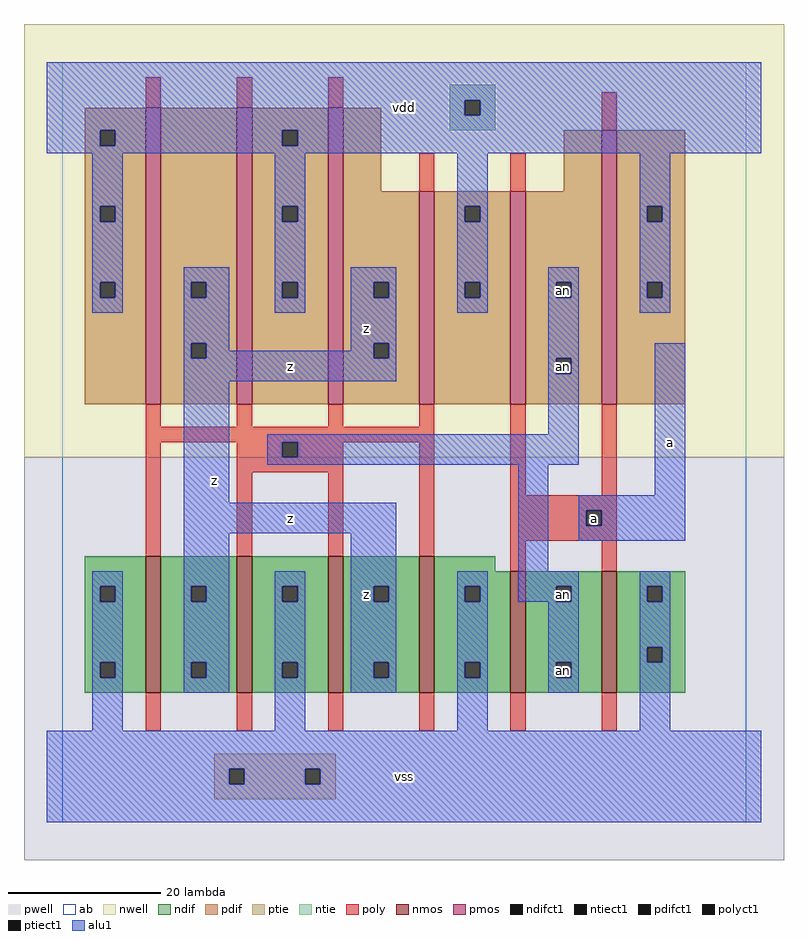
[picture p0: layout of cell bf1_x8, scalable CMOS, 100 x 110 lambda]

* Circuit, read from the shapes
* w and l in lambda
.subckt bf1_x8 a an vdd vss z
M1 z an vss vss nfet w=18 l=2 m=4
M2 an a vss vss nfet w=16 l=2 m=2
M3 z an vdd vdd pfet w=39 l=2 m=3
M4 vdd an z vdd pfet w=28 l=2
M5 an a vdd vdd pfet w=28 l=2
M6 vdd a an vdd pfet w=36 l=2
.ends

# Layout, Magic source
magic
tech scmos
<< ab >>
rect 0 0 90 100
<< nwell >>
rect -5 48 95 105
<< pwell >>
rect -5 -5 95 48
<< poly >>
rect 11 94 13 98
rect 23 94 25 98
rect 35 94 37 98
rect 71 91 73 96
rect 47 83 49 88
rect 59 83 61 88
rect 11 52 13 55
rect 23 52 25 55
rect 35 52 37 55
rect 47 52 49 55
rect 11 50 49 52
rect 11 35 13 50
rect 23 48 29 50
rect 31 48 37 50
rect 23 46 37 48
rect 23 35 25 46
rect 35 35 37 46
rect 47 35 49 50
rect 59 43 61 55
rect 71 43 73 55
rect 59 41 73 43
rect 59 39 69 41
rect 71 39 73 41
rect 59 37 73 39
rect 59 33 61 37
rect 71 33 73 37
rect 11 12 13 17
rect 23 12 25 17
rect 35 12 37 17
rect 47 12 49 17
rect 59 12 61 17
rect 71 12 73 17
<< ndif >>
rect 3 31 11 35
rect 3 29 5 31
rect 7 29 11 31
rect 3 21 11 29
rect 3 19 5 21
rect 7 19 11 21
rect 3 17 11 19
rect 13 31 23 35
rect 13 29 17 31
rect 19 29 23 31
rect 13 21 23 29
rect 13 19 17 21
rect 19 19 23 21
rect 13 17 23 19
rect 25 31 35 35
rect 25 29 29 31
rect 31 29 35 31
rect 25 21 35 29
rect 25 19 29 21
rect 31 19 35 21
rect 25 17 35 19
rect 37 31 47 35
rect 37 29 41 31
rect 43 29 47 31
rect 37 21 47 29
rect 37 19 41 21
rect 43 19 47 21
rect 37 17 47 19
rect 49 33 57 35
rect 49 31 59 33
rect 49 29 53 31
rect 55 29 59 31
rect 49 21 59 29
rect 49 19 53 21
rect 55 19 59 21
rect 49 17 59 19
rect 61 31 71 33
rect 61 29 65 31
rect 67 29 71 31
rect 61 21 71 29
rect 61 19 65 21
rect 67 19 71 21
rect 61 17 71 19
rect 73 31 82 33
rect 73 29 77 31
rect 79 29 82 31
rect 73 23 82 29
rect 73 21 77 23
rect 79 21 82 23
rect 73 17 82 21
<< pdif >>
rect 3 91 11 94
rect 3 89 5 91
rect 7 89 11 91
rect 3 81 11 89
rect 3 79 5 81
rect 7 79 11 81
rect 3 71 11 79
rect 3 69 5 71
rect 7 69 11 71
rect 3 55 11 69
rect 13 71 23 94
rect 13 69 17 71
rect 19 69 23 71
rect 13 63 23 69
rect 13 61 17 63
rect 19 61 23 63
rect 13 55 23 61
rect 25 91 35 94
rect 25 89 29 91
rect 31 89 35 91
rect 25 81 35 89
rect 25 79 29 81
rect 31 79 35 81
rect 25 71 35 79
rect 25 69 29 71
rect 31 69 35 71
rect 25 55 35 69
rect 37 83 42 94
rect 66 83 71 91
rect 37 71 47 83
rect 37 69 41 71
rect 43 69 47 71
rect 37 63 47 69
rect 37 61 41 63
rect 43 61 47 63
rect 37 55 47 61
rect 49 81 59 83
rect 49 79 53 81
rect 55 79 59 81
rect 49 71 59 79
rect 49 69 53 71
rect 55 69 59 71
rect 49 55 59 69
rect 61 71 71 83
rect 61 69 65 71
rect 67 69 71 71
rect 61 61 71 69
rect 61 59 65 61
rect 67 59 71 61
rect 61 55 71 59
rect 73 81 82 91
rect 73 79 77 81
rect 79 79 82 81
rect 73 71 82 79
rect 73 69 77 71
rect 79 69 82 71
rect 73 55 82 69
<< alu1 >>
rect -2 95 92 100
rect -2 93 53 95
rect 55 93 92 95
rect -2 91 92 93
rect -2 89 5 91
rect 7 89 29 91
rect 31 89 92 91
rect -2 88 92 89
rect 4 81 8 88
rect 4 79 5 81
rect 7 79 8 81
rect 4 71 8 79
rect 28 81 32 88
rect 28 79 29 81
rect 31 79 32 81
rect 4 69 5 71
rect 7 69 8 71
rect 4 67 8 69
rect 16 71 22 73
rect 16 69 17 71
rect 19 69 22 71
rect 16 63 22 69
rect 28 71 32 79
rect 52 81 56 88
rect 52 79 53 81
rect 55 79 56 81
rect 28 69 29 71
rect 31 69 32 71
rect 28 67 32 69
rect 38 71 44 73
rect 38 69 41 71
rect 43 69 44 71
rect 16 61 17 63
rect 19 62 22 63
rect 38 63 44 69
rect 52 71 56 79
rect 76 81 80 88
rect 76 79 77 81
rect 79 79 80 81
rect 52 69 53 71
rect 55 69 56 71
rect 52 67 56 69
rect 64 71 68 73
rect 64 69 65 71
rect 67 69 68 71
rect 38 62 41 63
rect 19 61 41 62
rect 43 61 44 63
rect 16 58 44 61
rect 64 61 68 69
rect 76 71 80 79
rect 76 69 77 71
rect 79 69 80 71
rect 76 67 80 69
rect 64 59 65 61
rect 67 59 68 61
rect 16 42 22 58
rect 64 51 68 59
rect 27 50 68 51
rect 27 48 29 50
rect 31 48 68 50
rect 27 47 68 48
rect 16 38 44 42
rect 4 31 8 33
rect 4 29 5 31
rect 7 29 8 31
rect 4 21 8 29
rect 4 19 5 21
rect 7 19 8 21
rect 4 12 8 19
rect 16 31 22 38
rect 16 29 17 31
rect 19 29 22 31
rect 16 21 22 29
rect 16 19 17 21
rect 19 19 22 21
rect 16 17 22 19
rect 28 31 32 33
rect 28 29 29 31
rect 31 29 32 31
rect 28 21 32 29
rect 28 19 29 21
rect 31 19 32 21
rect 28 12 32 19
rect 38 31 44 38
rect 60 33 64 47
rect 78 43 82 63
rect 68 41 82 43
rect 68 39 69 41
rect 71 39 82 41
rect 68 37 82 39
rect 38 29 41 31
rect 43 29 44 31
rect 38 21 44 29
rect 38 19 41 21
rect 43 19 44 21
rect 38 17 44 19
rect 52 31 56 33
rect 52 29 53 31
rect 55 29 56 31
rect 60 31 68 33
rect 60 29 65 31
rect 67 29 68 31
rect 52 21 56 29
rect 52 19 53 21
rect 55 19 56 21
rect 52 12 56 19
rect 64 21 68 29
rect 64 19 65 21
rect 67 19 68 21
rect 64 17 68 19
rect 76 31 80 33
rect 76 29 77 31
rect 79 29 80 31
rect 76 23 80 29
rect 76 21 77 23
rect 79 21 80 23
rect 76 12 80 21
rect -2 7 92 12
rect -2 5 22 7
rect 24 5 32 7
rect 34 5 92 7
rect -2 0 92 5
<< ptie >>
rect 20 7 36 9
rect 20 5 22 7
rect 24 5 32 7
rect 34 5 36 7
rect 20 3 36 5
<< ntie >>
rect 51 95 57 97
rect 51 93 53 95
rect 55 93 57 95
rect 51 91 57 93
<< nmos >>
rect 11 17 13 35
rect 23 17 25 35
rect 35 17 37 35
rect 47 17 49 35
rect 59 17 61 33
rect 71 17 73 33
<< pmos >>
rect 11 55 13 94
rect 23 55 25 94
rect 35 55 37 94
rect 47 55 49 83
rect 59 55 61 83
rect 71 55 73 91
<< polyct1 >>
rect 29 48 31 50
rect 69 39 71 41
<< ndifct1 >>
rect 5 29 7 31
rect 5 19 7 21
rect 17 29 19 31
rect 17 19 19 21
rect 29 29 31 31
rect 29 19 31 21
rect 41 29 43 31
rect 41 19 43 21
rect 53 29 55 31
rect 53 19 55 21
rect 65 29 67 31
rect 65 19 67 21
rect 77 29 79 31
rect 77 21 79 23
<< ntiect1 >>
rect 53 93 55 95
<< ptiect1 >>
rect 22 5 24 7
rect 32 5 34 7
<< pdifct1 >>
rect 5 89 7 91
rect 5 79 7 81
rect 5 69 7 71
rect 17 69 19 71
rect 17 61 19 63
rect 29 89 31 91
rect 29 79 31 81
rect 29 69 31 71
rect 41 69 43 71
rect 41 61 43 63
rect 53 79 55 81
rect 53 69 55 71
rect 65 69 67 71
rect 65 59 67 61
rect 77 79 79 81
rect 77 69 79 71
<< labels >>
rlabel ndifct1 66 20 66 20 6 an
rlabel ndifct1 66 30 66 30 6 an
rlabel pdifct1 66 60 66 60 6 an
rlabel pdifct1 66 70 66 70 6 an
rlabel alu1 20 45 20 45 6 z
rlabel alu1 30 40 30 40 6 z
rlabel alu1 40 30 40 30 6 z
rlabel alu1 40 65 40 65 6 z
rlabel alu1 30 60 30 60 6 z
rlabel alu1 45 6 45 6 6 vss
rlabel alu1 45 94 45 94 6 vdd
rlabel polyct1 70 40 70 40 6 a
rlabel alu1 80 50 80 50 6 a
<< end >>
